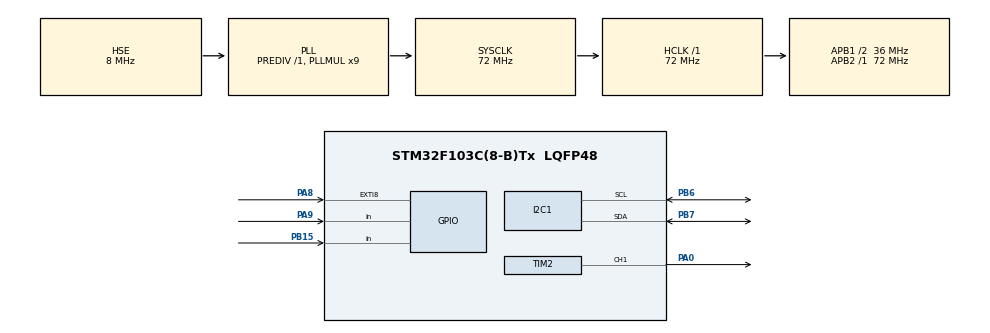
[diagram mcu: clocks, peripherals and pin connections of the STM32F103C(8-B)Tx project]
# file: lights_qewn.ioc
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Dma.Request0=TIM2_CH1
Dma.TIM2_CH1.0.Direction=DMA_MEMORY_TO_PERIPH
Dma.TIM2_CH1.0.Instance=DMA1_Channel5
Dma.TIM2_CH1.0.MemDataAlignment=DMA_MDATAALIGN_HALFWORD
Dma.TIM2_CH1.0.MemInc=DMA_MINC_ENABLE
Dma.TIM2_CH1.0.Mode=DMA_NORMAL
Dma.TIM2_CH1.0.PeriphDataAlignment=DMA_PDATAALIGN_HALFWORD
Dma.TIM2_CH1.0.PeriphInc=DMA_PINC_DISABLE
Dma.TIM2_CH1.0.Priority=DMA_PRIORITY_VERY_HIGH
Mcu.Family=STM32F1
Mcu.Name=STM32F103C(8-B)Tx
Mcu.Package=LQFP48
NVIC.DMA1_Channel5_IRQn=true\:0\:0\:false\:false\:true\:false\:true\:true
NVIC.EXTI9_5_IRQn=true\:3\:0\:true\:false\:true\:true\:true\:true
NVIC.PriorityGroup=NVIC_PRIORITYGROUP_4
PA0-WKUP.GPIO_Speed=GPIO_SPEED_FREQ_HIGH
PA0-WKUP.Signal=S_TIM2_CH1_ETR
PA13.Mode=Serial_Wire
PA13.Signal=SYS_JTMS-SWDIO
PA14.Mode=Serial_Wire
PA14.Signal=SYS_JTCK-SWCLK
PA8.GPIO_ModeDefaultEXTI=GPIO_MODE_IT_FALLING
PA8.GPIO_PuPd=GPIO_PULLUP
PA8.Signal=GPXTI8
PA9.GPIO_PuPd=GPIO_PULLUP
PA9.Signal=GPIO_Input
PB15.GPIO_PuPd=GPIO_PULLUP
PB15.Signal=GPIO_Input
PB6.Mode=I2C
PB6.Signal=I2C1_SCL
PB7.Mode=I2C
PB7.Signal=I2C1_SDA
PD0-OSC_IN.Mode=HSE-External-Oscillator
PD0-OSC_IN.Signal=RCC_OSC_IN
PD1-OSC_OUT.Mode=HSE-External-Oscillator
PD1-OSC_OUT.Signal=RCC_OSC_OUT
ProjectManager.HeapSize=0x200
ProjectManager.StackSize=0x400
ProjectManager.TargetToolchain=MDK-ARM V5.32
RCC.AHBFreq_Value=72000000
RCC.APB1CLKDivider=RCC_HCLK_DIV2
RCC.APB1Freq_Value=36000000
RCC.APB1TimFreq_Value=72000000
RCC.APB2Freq_Value=72000000
RCC.APB2TimFreq_Value=72000000
RCC.HCLKFreq_Value=72000000
RCC.PLLMUL=RCC_PLL_MUL9
RCC.PLLSourceVirtual=RCC_PLLSOURCE_HSE
RCC.SYSCLKFreq_VALUE=72000000
RCC.SYSCLKSource=RCC_SYSCLKSOURCE_PLLCLK
RCC.USBFreq_Value=72000000
SH.S_TIM2_CH1_ETR.0=TIM2_CH1,PWM Generation1 CH1
TIM2.Channel-PWM\ Generation1\ CH1=TIM_CHANNEL_1
TIM2.Period=89
VP_TIM2_VS_ClockSourceINT.Mode=Internal
board=custom

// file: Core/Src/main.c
/* USER CODE BEGIN Header */
/**
  ******************************************************************************
  * @file           : main.c
  * @brief          : Main program body
  ******************************************************************************
  * @attention
  *
  * Copyright (c) 2026 STMicroelectronics.
  * All rights reserved.
  *
  * This software is licensed under terms that can be found in the LICENSE file
  * in the root directory of this software component.
  * If no LICENSE file comes with this software, it is provided AS-IS.
  *
  ******************************************************************************
  */
/* USER CODE END Header */
#include "main.h"
#include "dma.h"
#include "i2c.h"
#include "tim.h"
#include "gpio.h"

/* USER CODE BEGIN Includes */
#include "ws2812.h"
#include "effects.h"
/* USER CODE END Includes */

/* USER CODE BEGIN PD */
#define SWITCH_GPIO_PORT GPIOA
#define BRI_ADD_PORT GPIOA
#define BRI_MIN_PORT GPIOB
#define MODE_SWITCH_KEY GPIO_PIN_8
#define BRI_ADD_KEY GPIO_PIN_10
#define BRI_MIN_KEY GPIO_PIN_15
/* USER CODE END PD */

/* USER CODE BEGIN PV */

RGB_Color_TypeDef color = {255, 180, 100};//默认暖白�??
uint8_t color_switch_index = 0;
uint32_t last_click_time = 0;
uint8_t click_flag = 0;
uint8_t mode = 0;
uint8_t is_color_switching = 0;
uint32_t timeout = 0;
uint8_t interupt = 0;
uint8_t frame = 0;

/* USER CODE END PV */

void SystemClock_Config(void);
/* USER CODE BEGIN PFP */
uint8_t irq_key_check();
void effect_player(uint8_t,RGB_Color_TypeDef);
/* USER CODE END PFP */

int main(void)
{

  /* MCU Configuration--------------------------------------------------------*/

  /* Reset of all peripherals, Initializes the Flash interface and the Systick. */
  HAL_Init();

  /* Configure the system clock */
  SystemClock_Config();

  /* Initialize all configured peripherals */
  MX_GPIO_Init();
  MX_DMA_Init();
  MX_TIM2_Init();
  MX_I2C1_Init();

  /* Infinite loop */
  /* USER CODE BEGIN WHILE */
  while (1)
  {
    if(is_color_switching == 0){
      if(irq_key_check()){
        mode += 1;
        if(mode>5)mode = 0;
        interupt = 1;
      }
    }
    if(is_color_switching){
      while(HAL_GetTick() - timeout<3000){
        if(irq_key_check()){
          color_switch_index += 1;
          if(color_switch_index>2)color_switch_index=0;
          timeout = HAL_GetTick();
        }
        uint8_t operation = 0;
        if(HAL_GPIO_ReadPin(BRI_ADD_PORT,BRI_ADD_KEY)==RESET){
          HAL_Delay(20);
          if(HAL_GPIO_ReadPin(BRI_ADD_PORT,BRI_ADD_KEY)==RESET){
            operation = 1;
          }
        }else if(HAL_GPIO_ReadPin(BRI_MIN_PORT,BRI_MIN_KEY)==RESET){
          HAL_Delay(20);
          if(HAL_GPIO_ReadPin(BRI_MIN_PORT,BRI_MIN_KEY)==RESET){
            operation = -1;
          }
        }
        if(operation){
          color_switch[color_switch_index]+= operation;
          if(color_switch[color_switch_index]>255)color_switch[color_switch_index]=0;
          timeout = HAL_GetTick();
          color.R = color_switch[0];
          color.G = color_switch[1];
          color.B = color_switch[2];
          color_preview(color);
        }
      }
      is_color_switching = 0;
    }else{
      effect_player(mode,color);
    }
    /* USER CODE END WHILE */

  }
}

void SystemClock_Config(void)
{
  RCC_OscInitTypeDef RCC_OscInitStruct = {0};
  RCC_ClkInitTypeDef RCC_ClkInitStruct = {0};

  /** Initializes the RCC Oscillators according to the specified parameters
  * in the RCC_OscInitTypeDef structure.
  */
  RCC_OscInitStruct.OscillatorType = RCC_OSCILLATORTYPE_HSE;
  RCC_OscInitStruct.HSEState = RCC_HSE_ON;
  RCC_OscInitStruct.HSEPredivValue = RCC_HSE_PREDIV_DIV1;
  RCC_OscInitStruct.HSIState = RCC_HSI_ON;
  RCC_OscInitStruct.PLL.PLLState = RCC_PLL_ON;
  RCC_OscInitStruct.PLL.PLLSource = RCC_PLLSOURCE_HSE;
  RCC_OscInitStruct.PLL.PLLMUL = RCC_PLL_MUL9;
  if (HAL_RCC_OscConfig(&RCC_OscInitStruct) != HAL_OK)
  {
    Error_Handler();
  }

  /** Initializes the CPU, AHB and APB buses clocks
  */
  RCC_ClkInitStruct.ClockType = RCC_CLOCKTYPE_HCLK|RCC_CLOCKTYPE_SYSCLK
                              |RCC_CLOCKTYPE_PCLK1|RCC_CLOCKTYPE_PCLK2;
  RCC_ClkInitStruct.SYSCLKSource = RCC_SYSCLKSOURCE_PLLCLK;
  RCC_ClkInitStruct.AHBCLKDivider = RCC_SYSCLK_DIV1;
  RCC_ClkInitStruct.APB1CLKDivider = RCC_HCLK_DIV2;
  RCC_ClkInitStruct.APB2CLKDivider = RCC_HCLK_DIV1;

  if (HAL_RCC_ClockConfig(&RCC_ClkInitStruct, FLASH_LATENCY_2) != HAL_OK)
  {
    Error_Handler();
  }
}

/* USER CODE BEGIN 4 */

void HAL_GPIO_EXTI_Callback(uint16_t GPIO_Pin){
  if(GPIO_Pin == GPIO_PIN_8){
    last_click_time = HAL_GetTick();
    click_flag = 1;
    interupt = 1;
  }
}

uint8_t irq_key_check(){
  if(click_flag == 1){
    if(HAL_GetTick() - last_click_time >= 20){
      if(HAL_GPIO_ReadPin(SWITCH_GPIO_PORT,MODE_SWITCH_KEY)==GPIO_PIN_RESET){
        click_flag = 2;
        return 1;
      }else{
        click_flag = 0;
        return 0;
      }
    }else{
      return 0;
    }
  }else if(click_flag == 2){
    if(HAL_GPIO_ReadPin(SWITCH_GPIO_PORT,MODE_SWITCH_KEY)==GPIO_PIN_RESET){
      if(HAL_GetTick() - last_click_time >= 3000){
        click_flag = 0;
        is_color_switching = 1;
        timeout = HAL_GetTick();
        return 0;
      }
    }else{
      click_flag = 0;
      return 0;
    }
  }
  return 0;
}

void effect_player(uint8_t index,RGB_Color_TypeDef color){
  if(interupt){
    interupt = 0;
    frame = 0;
    return;
  }else{
    effects(index,color);
    // frame ++;
  }
}
/* USER CODE END 4 */

void Error_Handler(void)
{
  __disable_irq();
  while (1)
  {
  }
}
